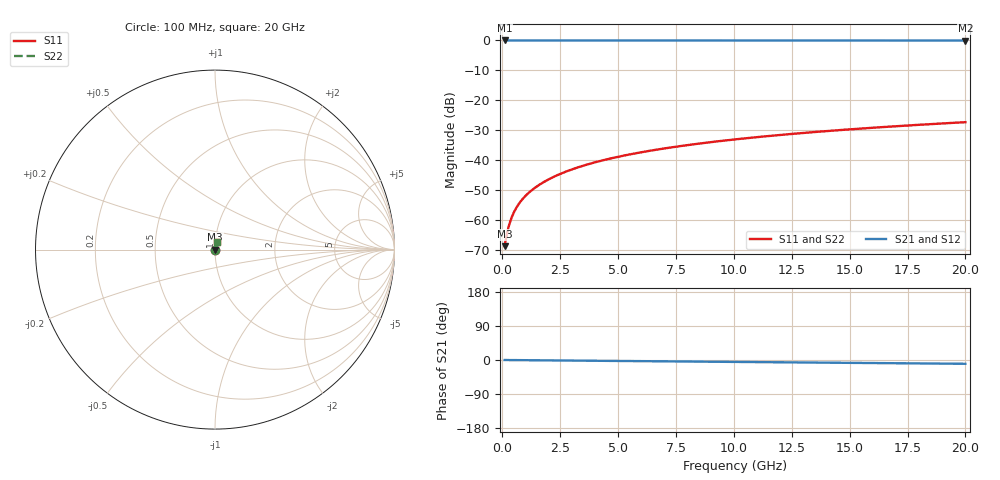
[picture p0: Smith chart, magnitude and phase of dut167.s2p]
! Touchstone file exported from HFSS 2026.1.0
!  File:  C:/ffzhzh/LocalFiles/Ansys_Project_Files/temp_train_TSV_167_1782990966_41620.aedt
!  Generated:  07:17:46 PM Jul  2, 2026
!  Design:  TSV
!  Project:  temp_train_TSV_167_1782990966_41620
! Variables:
!  h_bsmrdl = 2um
!  h_ox = 20um
!  h_rdl = 5um
!  h_sub = 99.59um
!  h_tmrdl = 5um
!  h_tsv = 99.59um
!  h_via = 3um
!  l_bsmrdl = 300um
!  l_sub = 414.52um
!  l_tmrdl = 200um
!  m_sub = 200um
!  pitch = 41.27um
!  r_tsv = 7.26um
!  s_tmrdl = 10um
!  w_bsmrdl = 18um
!  w_sub = 500um
!  w_tmrdl = 12um
!  x_tsv_center1 = 206um
!  x_tsv_center2 = 524um
!  x_tsv_center3 = 736um
!  x_tsv_center4 = 1054um
!  x_tsv_center5 = 1266um
!  x_tsv_center6 = 1584um
# GHz S MA R 50.000000
! Terminal data exported
! Port[1] = TSV1_1_T1
! Port[2] = TSV1_1_T2
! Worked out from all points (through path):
!   200 points, 100 MHz to 20 GHz, reference 50 ohm
!   highest |S21| = 0.00 dB at 100 MHz (marker M1); lowest = 0.0 dB at 20 GHz (marker M2)
!   group delay of S21, straight-line fit = 1.39 ps
!   lowest |S11| = -68.6 dB at 100 MHz (marker M3), VSWR 1.00, Z = 50 + j0.027 ohm
!   |S11| at or under -10 dB: start of sweep to end of sweep
!   |S22| runs from -68.6 to -27.3 dB; largest |S21 - S12| = 4e-15
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0.1  0.0003694 46.9  0.9997 -0.1  0.9997 -0.1  0.0003694 46.9
! Gamma 0 0 0 0
! Port Impedance 50 0 50 0
0.2  0.0005989 63.7  0.9997 -0.1  0.9997 -0.1  0.0005989 63.7
0.3  0.0008494 70.4  0.9997 -0.2  0.9997 -0.2  0.0008494 70.4
0.4  0.001103 73.7  0.9997 -0.2  0.9997 -0.2  0.001103 73.7
0.5  0.001353 75.6  0.9997 -0.3  0.9997 -0.3  0.001353 75.6
0.6  0.0016 76.7  0.9996 -0.3  0.9996 -0.3  0.0016 76.7
0.7  0.001842 77.6  0.9996 -0.4  0.9996 -0.4  0.001842 77.6
0.8  0.00208 78.2  0.9996 -0.4  0.9996 -0.4  0.00208 78.2
1  0.002547 79.0  0.9995 -0.5  0.9995 -0.5  0.002547 79.0
1.4  0.003459 80.3  0.9994 -0.7  0.9994 -0.7  0.003459 80.3
1.7  0.004134 80.9  0.9994 -0.9  0.9994 -0.9  0.004134 80.9
2  0.004806 81.4  0.9993 -1.0  0.9993 -1.0  0.004806 81.4
2.7  0.006369 82.1  0.9993 -1.4  0.9993 -1.4  0.006369 82.1
3.5  0.008145 82.5  0.9992 -1.8  0.9992 -1.8  0.008145 82.5
4.2  0.00969 82.6  0.9991 -2.1  0.9991 -2.1  0.00969 82.6
5  0.01144 82.6  0.999 -2.5  0.999 -2.5  0.01144 82.6
6.8  0.01536 82.3  0.9987 -3.4  0.9987 -3.4  0.01536 82.3
8.3  0.01859 81.9  0.9986 -4.2  0.9986 -4.2  0.01859 81.9
10.1  0.02244 81.4  0.9984 -5.1  0.9984 -5.1  0.02244 81.4
13.4  0.02946 80.2  0.998 -6.7  0.998 -6.7  0.02946 80.2
16.7  0.03642 78.8  0.9976 -8.4  0.9976 -8.4  0.03642 78.8
20  0.0433 77.4  0.9971 -10.0  0.9971 -10.0  0.0433 77.4
